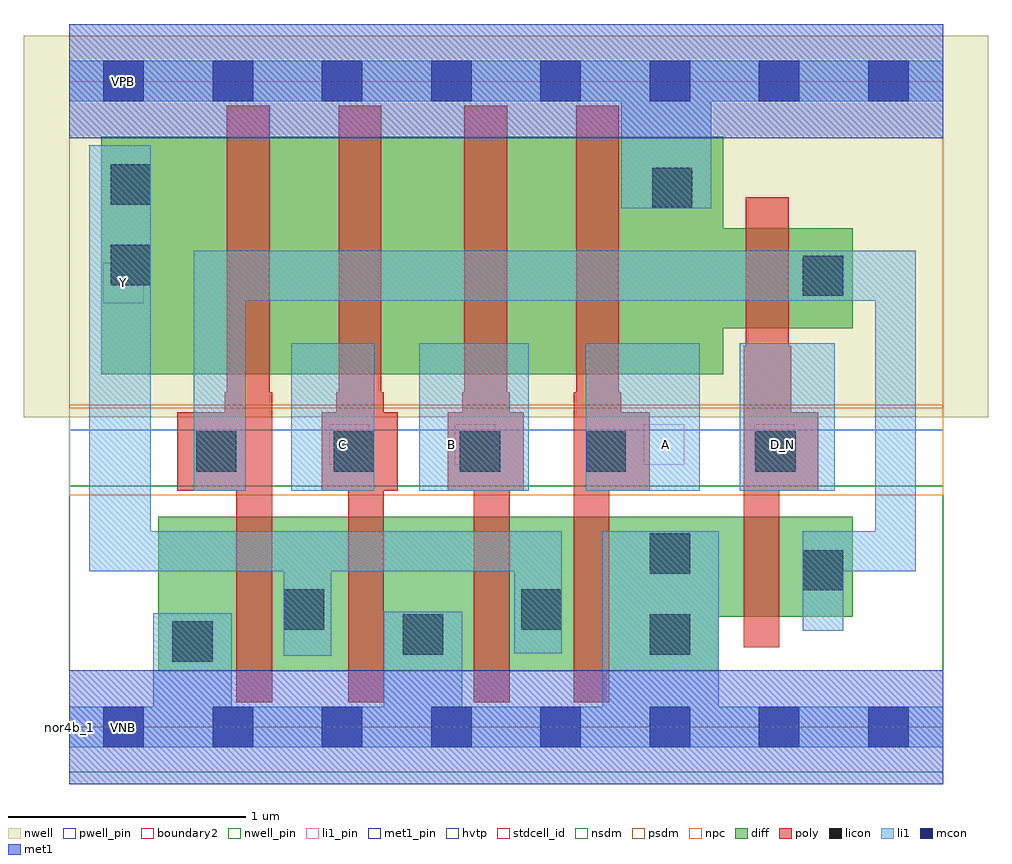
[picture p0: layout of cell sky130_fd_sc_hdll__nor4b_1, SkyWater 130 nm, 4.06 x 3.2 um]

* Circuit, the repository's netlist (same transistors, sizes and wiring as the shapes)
* Copyright 2020 The SkyWater PDK Authors
*
* Licensed under the Apache License, Version 2.0 (the "License");
* you may not use this file except in compliance with the License.
* You may obtain a copy of the License at
*
*     https://www.apache.org/licenses/LICENSE-2.0
*
* Unless required by applicable law or agreed to in writing, software
* distributed under the License is distributed on an "AS IS" BASIS,
* WITHOUT WARRANTIES OR CONDITIONS OF ANY KIND, either express or implied.
* See the License for the specific language governing permissions and
* limitations under the License.
*
* SPDX-License-Identifier: Apache-2.0

.SUBCKT sky130_fd_sc_hdll__nor4b_1 A B C D_N VGND VNB VPB VPWR Y
*.PININFO A:I B:I C:I D_N:I VGND:I VNB:I VPB:I VPWR:I Y:O
MMP0 VPWR A sndPA VPB sky130_fd_pr__pfet_01v8_hvt m=1 w=1.0U l=0.18U mult=1 sa=0.265
+ sb=0.265 sd=0.28 area=0.063 perim=1.14
MMP1 sndPA B sndPB VPB sky130_fd_pr__pfet_01v8_hvt m=1 w=1.0U l=0.18U mult=1 sa=0.265
+ sb=0.265 sd=0.28 area=0.063 perim=1.14
MMP2 sndPB C sndPC VPB sky130_fd_pr__pfet_01v8_hvt m=1 w=1.0U l=0.18U mult=1 sa=0.265
+ sb=0.265 sd=0.28 area=0.063 perim=1.14
MMP3 sndPC D Y VPB sky130_fd_pr__pfet_01v8_hvt m=1 w=1.0U l=0.18U mult=1 sa=0.265
+ sb=0.265 sd=0.28 area=0.063 perim=1.14
MMIP3 D D_N VPWR VPB sky130_fd_pr__pfet_01v8_hvt m=1 w=0.42U l=0.18U mult=1 sa=0.265
+ sb=0.265 sd=0.28 area=0.063 perim=1.14
MMN0 Y A VGND VNB sky130_fd_pr__nfet_01v8 m=1 w=0.65U l=0.15U mult=1 sa=0.265 sb=0.265
+ sd=0.28 area=0.063 perim=1.14
MMN1 Y B VGND VNB sky130_fd_pr__nfet_01v8 m=1 w=0.65U l=0.15U mult=1 sa=0.265 sb=0.265
+ sd=0.28 area=0.063 perim=1.14
MMN2 Y C VGND VNB sky130_fd_pr__nfet_01v8 m=1 w=0.65U l=0.15U mult=1 sa=0.265 sb=0.265
+ sd=0.28 area=0.063 perim=1.14
MMN3 Y D VGND VNB sky130_fd_pr__nfet_01v8 m=1 w=0.65U l=0.15U mult=1 sa=0.265 sb=0.265
+ sd=0.28 area=0.063 perim=1.14
MMIN3 D D_N VGND VNB sky130_fd_pr__nfet_01v8 m=1 w=0.42U l=0.15U mult=1 sa=0.265
+ sb=0.265 sd=0.28 area=0.063 perim=1.14
.ENDS sky130_fd_sc_hdll__nor4b_1

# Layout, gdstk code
import gdstk
lib = gdstk.Library(unit=1e-6, precision=1e-09)
def R(c, l, rs):  # rectangles x0, y0, x1, y1
    for r in rs: c.add(gdstk.rectangle(r[:2], r[2:], *l))
def A(c, l, x, y, w, h, nx, ny, dx, dy):  # array of equal rectangles
    R(c, l, [(x+i*dx, y+j*dy, x+i*dx+w, y+j*dy+h) for i in range(nx) for j in range(ny)])
def P(c, l, *ps):  # polygons
    for p in ps: c.add(gdstk.Polygon(p, *l))
nwell_pin = (64, 16)
nwell = (64, 20)
diff = (65, 20)
poly = (66, 20)
licon = (66, 44)
li1_pin = (67, 16)
li1 = (67, 20)
mcon = (67, 44)
met1_pin = (68, 16)
met1 = (68, 20)
hvtp = (78, 44)
stdcell_id = (81, 4)
nsdm = (93, 44)
psdm = (94, 20)
npc = (95, 20)
pwell_pin = (122, 16)
boundary2 = (236, 0)

sky130_fd_sc_hdll__nor4b = lib.new_cell('sky130_fd_sc_hdll__nor4b_1')
R(sky130_fd_sc_hdll__nor4b, nwell_pin, [(0.145,2.635,0.315,2.805)])
R(sky130_fd_sc_hdll__nor4b, nwell, [(-0.19,1.305,3.87,2.91)])
P(sky130_fd_sc_hdll__nor4b, diff, [(3.3,2.1),(2.755,2.1),(2.755,2.485),(0.135,2.485),(0.135,1.485),(2.755,1.485),(2.755,1.68),(3.3,1.68)],
  [(3.3,0.885),(0.375,0.885),(0.375,0.235),(2.735,0.235),(2.735,0.465),(3.3,0.465)])
P(sky130_fd_sc_hdll__nor4b, poly, [(0.855,1.41),(0.845,1.41),(0.845,2.615),(0.665,2.615),(0.665,1.41),(0.655,1.41),(0.655,1.325),(0.455,1.325),(0.455,0.995),(0.705,0.995),(0.705,0.105),(0.855,0.105)],
  [(1.385,1.325),(1.325,1.325),(1.325,1.41),(1.315,1.41),(1.315,2.615),(1.135,2.615),(1.135,1.41),(1.125,1.41),(1.125,1.325),(1.065,1.325),(1.065,0.995),(1.175,0.995),(1.175,0.105),(1.325,0.105),(1.325,0.995),(1.385,0.995)],
  [(1.915,1.325),(1.855,1.325),(1.855,1.41),(1.845,1.41),(1.845,2.615),(1.665,2.615),(1.665,1.41),(1.655,1.41),(1.655,1.325),(1.595,1.325),(1.595,0.995),(1.705,0.995),(1.705,0.105),(1.855,0.105),(1.855,0.995),(1.915,0.995)],
  [(2.445,1.325),(2.325,1.325),(2.325,1.41),(2.315,1.41),(2.315,2.615),(2.135,2.615),(2.135,1.41),(2.125,1.41),(2.125,0.105),(2.275,0.105),(2.275,0.995),(2.445,0.995)],
  [(3.155,1.325),(3.04,1.325),(3.04,1.605),(3.03,1.605),(3.03,2.23),(2.85,2.23),(2.85,1.605),(2.84,1.605),(2.84,0.335),(2.99,0.335),(2.99,0.995),(3.155,0.995)])
A(sky130_fd_sc_hdll__nor4b, licon, 1.115, 1.075, 0.17, 0.17, 3, 1, 0.53, 0)
R(sky130_fd_sc_hdll__nor4b, licon, [(0.435,0.275,0.605,0.445), (1.405,0.305,1.575,0.475), (2.445,0.305,2.615,0.475), (0.905,0.41,1.075,0.58), (1.905,0.41,2.075,0.58), (3.09,0.575,3.26,0.745), (2.445,0.645,2.615,0.815), (0.535,1.075,0.705,1.245), (2.89,1.075,3.06,1.245), (3.09,1.815,3.26,1.985), (0.175,1.86,0.345,2.03), (2.455,2.185,2.625,2.355), (0.175,2.2,0.345,2.37)])
R(sky130_fd_sc_hdll__nor4b, li1_pin, [(1.095,1.105,1.265,1.275), (1.625,1.105,1.795,1.275), (2.42,1.105,2.59,1.275), (2.885,1.105,3.055,1.275), (0.145,1.785,0.315,1.955)])
R(sky130_fd_sc_hdll__nor4b, li1, [(0.935,0.995,1.285,1.615), (1.475,0.995,1.935,1.615), (2.175,0.995,2.655,1.615), (2.825,0.995,3.225,1.615)])
P(sky130_fd_sc_hdll__nor4b, li1, [(3.68,0.085),(2.735,0.085),(2.735,0.825),(2.245,0.825),(2.245,0.085),(1.655,0.085),(1.655,0.485),(1.325,0.485),(1.325,0.085),(0.685,0.085),(0.685,0.48),(0.355,0.48),(0.355,0.085),(0,0.085),(0,-0.085),(3.68,-0.085)],
  [(3.68,2.805),(0,2.805),(0,2.635),(2.325,2.635),(2.325,2.185),(2.705,2.185),(2.705,2.635),(3.68,2.635)],
  [(2.075,0.825),(0.345,0.825),(0.345,2.45),(0.085,2.45),(0.085,0.655),(0.905,0.655),(0.905,0.3),(1.105,0.3),(1.105,0.655),(1.875,0.655),(1.875,0.31),(2.075,0.31)],
  [(3.565,2.005),(0.525,2.005),(0.525,0.995),(0.745,0.995),(0.745,1.795),(3.395,1.795),(3.395,0.825),(3.09,0.825),(3.09,0.405),(3.26,0.405),(3.26,0.655),(3.565,0.655)])
A(sky130_fd_sc_hdll__nor4b, mcon, 0.145, -0.085, 0.17, 0.17, 8, 2, 0.46, 2.72)
R(sky130_fd_sc_hdll__nor4b, met1_pin, [(0.145,-0.085,0.315,0.085), (0.145,2.635,0.315,2.805)])
R(sky130_fd_sc_hdll__nor4b, met1, [(0,-0.24,3.68,0.24), (0,2.48,3.68,2.96)])
R(sky130_fd_sc_hdll__nor4b, hvtp, [(0,1.25,3.68,2.72)])
R(sky130_fd_sc_hdll__nor4b, stdcell_id, [(0,0,3.68,2.72)])
R(sky130_fd_sc_hdll__nor4b, nsdm, [(0,-0.19,3.68,1.015)])
R(sky130_fd_sc_hdll__nor4b, psdm, [(0,1.355,3.68,2.91)])
R(sky130_fd_sc_hdll__nor4b, npc, [(0,0.975,3.68,1.345)])
R(sky130_fd_sc_hdll__nor4b, pwell_pin, [(0.145,-0.085,0.315,0.085)])
R(sky130_fd_sc_hdll__nor4b, boundary2, [(0,0,3.68,2.72)])
sky130_fd_sc_hdll__nor4b.add(gdstk.Label('C', (1.15,1.19), layer=67, texttype=5))
sky130_fd_sc_hdll__nor4b.add(gdstk.Label('B', (1.61,1.19), layer=67, texttype=5))
sky130_fd_sc_hdll__nor4b.add(gdstk.Label('A', (2.51,1.19), layer=67, texttype=5))
sky130_fd_sc_hdll__nor4b.add(gdstk.Label('D_N', (3.005,1.19), layer=67, texttype=5))
sky130_fd_sc_hdll__nor4b.add(gdstk.Label('Y', (0.23,1.87), layer=67, texttype=5))
sky130_fd_sc_hdll__nor4b.add(gdstk.Label('VPB', (0.23,2.72), layer=64, texttype=5))
sky130_fd_sc_hdll__nor4b.add(gdstk.Label('VNB', (0.23,0), layer=64, texttype=59))
sky130_fd_sc_hdll__nor4b.add(gdstk.Label('VGND', (0.23,0), layer=68, texttype=5))
sky130_fd_sc_hdll__nor4b.add(gdstk.Label('VPWR', (0.23,2.72), layer=68, texttype=5))
sky130_fd_sc_hdll__nor4b.add(gdstk.Label('nor4b_1', (0,0), layer=83, texttype=44))

lib.write_gds('sky130_fd_sc_hdll__nor4b_1.gds')
